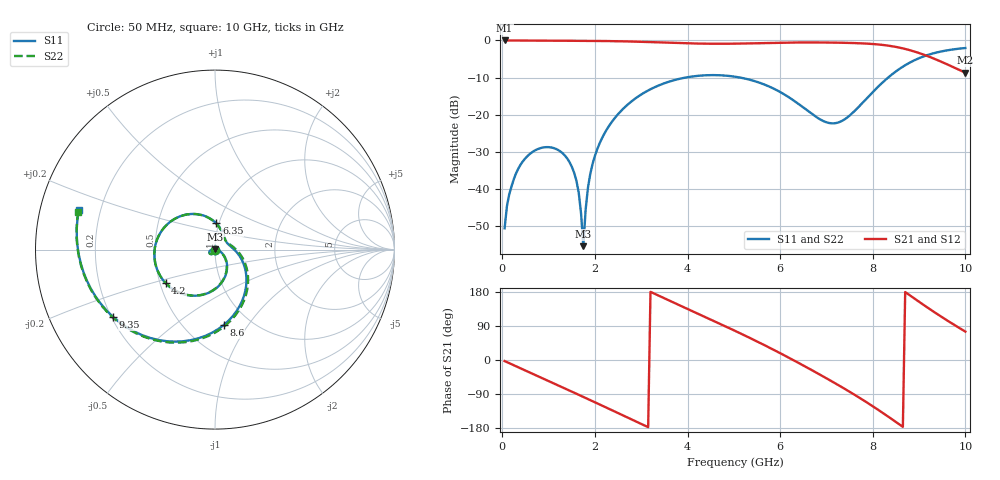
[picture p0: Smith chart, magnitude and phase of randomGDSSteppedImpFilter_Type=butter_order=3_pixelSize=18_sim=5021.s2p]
! freq	dB(S11)	phase(S11)	dB(S12)	phase(S12)
!  dB(S21)	phase(S21)	dB(S22)	phase(S22)
!S-par simulation data
#  GHz  S  DB  R 50
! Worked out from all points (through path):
!   200 points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, 50 MHz to 10 GHz, reference 50 ohm
!   highest |S21| = -0.01 dB at 50 MHz (marker M1); lowest = -8.7 dB at 10 GHz (marker M2)
!   group delay of S21, straight-line fit = 175 ps
!   lowest |S11| = -55.4 dB at 1.75 GHz (marker M3), VSWR 1.00, Z = 50 + j0.169 ohm
!   |S11| at or under -10 dB: start of sweep to 3.958 GHz; 5.134 GHz to 8.332 GHz (3.198 GHz wide, 47.5 % of centre)
!   |S22| runs from -61.1 to -2.0 dB; largest |S21 - S12| = 0
!   S11 on the Smith chart (normalised r, x): 50 MHz: 1.00, -0.01; 4.2 GHz: 0.54, -0.22; 6.35 GHz: 0.97, +0.29; 8.6 GHz: 0.76, -0.78; 9.35 GHz: 0.21, -0.29; 10 GHz: 0.12, +0.14
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0.05  -50.60 -90.5  -0.01 -2.8  -0.01 -2.8  -50.60 -90.5
0.15  -41.43 -94.9  -0.02 -8.4  -0.02 -8.4  -41.43 -94.8
0.4  -33.36 -112.9  -0.04 -22.3  -0.04 -22.3  -33.35 -112.8
1.2  -29.46 -158.4  -0.08 -66.6  -0.08 -66.6  -29.46 -157.4
1.6  -37.74 174.9  -0.10 -89.0  -0.10 -89.0  -37.76 179.0
1.7  -46.46 157.0  -0.11 -94.6  -0.11 -94.6  -46.75 170.1
1.75  -55.40 83.1  -0.11 -97.4  -0.11 -97.4  -61.12 106.0
1.8  -45.53 5.8  -0.12 -100.2  -0.12 -100.2  -45.94 -6.5
1.85  -39.62 -5.1  -0.12 -103.0  -0.12 -103.0  -39.75 -11.5
2.1  -27.75 -25.3  -0.15 -117.2  -0.15 -117.2  -27.77 -27.3
2.8  -16.32 -67.0  -0.30 -157.3  -0.30 -157.3  -16.32 -67.7
3.4  -12.01 -101.3  -0.54 168.5  -0.54 168.5  -12.01 -101.9
4.2  -9.56 -146.0  -0.84 123.6  -0.84 123.6  -9.56 -146.4
5.05  -9.82 166.4  -0.87 75.6  -0.87 75.6  -9.82 166.2
5.8  -12.62 121.8  -0.67 30.6  -0.67 30.6  -12.62 122.0
6.35  -16.69 86.9  -0.55 -4.6  -0.55 -4.6  -16.67 88.1
6.7  -19.93 63.7  -0.54 -27.8  -0.54 -27.8  -19.88 66.4
7.55  -19.68 2.0  -0.69 -87.5  -0.69 -87.5  -19.61 7.2
8.35  -9.81 -62.1  -1.43 -150.8  -1.43 -150.8  -9.79 -59.7
8.6  -7.47 -83.5  -2.00 -172.1  -2.00 -172.1  -7.46 -81.5
9.35  -3.34 -146.7  -5.05 124.6  -5.05 124.6  -3.34 -145.5
10  -2.04 163.9  -8.70 75.0  -8.70 75.0  -2.04 164.7
